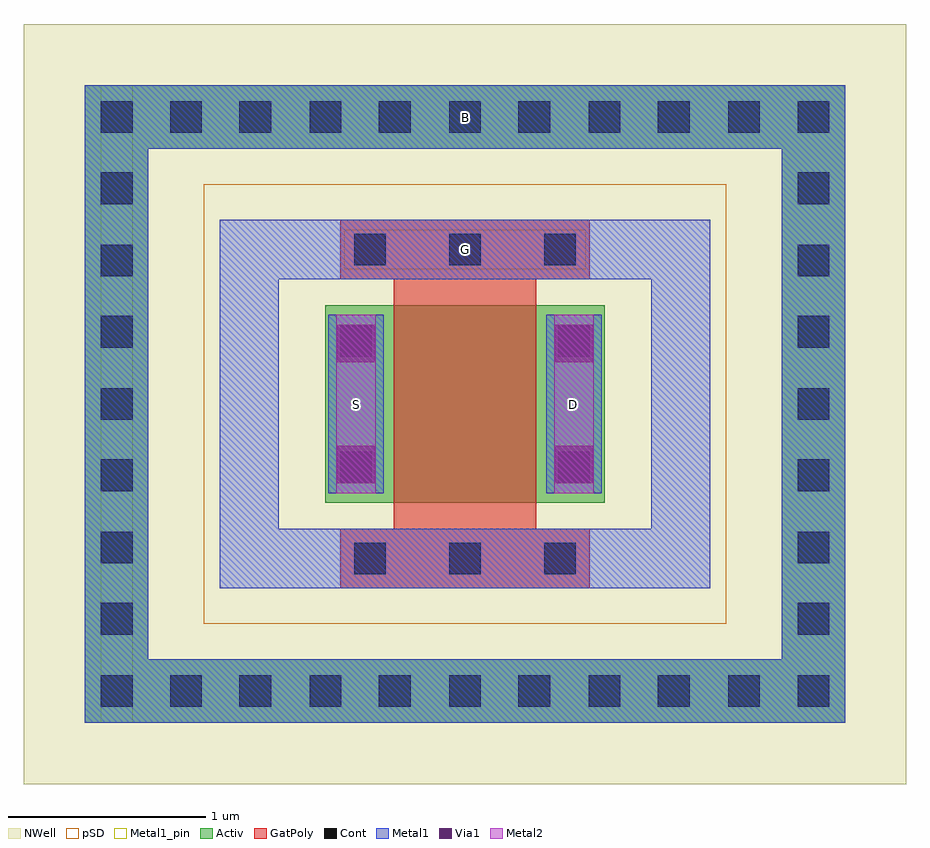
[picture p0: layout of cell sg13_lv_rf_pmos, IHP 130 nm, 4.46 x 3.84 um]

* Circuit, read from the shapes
.subckt sg13_lv_rf_pmos B D G S
XM1 D G S B sg13_lv_pmos w=1u l=0.72u
.ends

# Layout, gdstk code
from math import pi, radians
import gdstk
lib = gdstk.Library(unit=1e-6, precision=5e-09)
def R(c, l, rs):  # rectangles x0, y0, x1, y1
    for r in rs: c.add(gdstk.rectangle(r[:2], r[2:], *l))
def A(c, l, x, y, w, h, nx, ny, dx, dy):  # array of equal rectangles
    R(c, l, [(x+i*dx, y+j*dy, x+i*dx+w, y+j*dy+h) for i in range(nx) for j in range(ny)])
def P(c, l, *ps):  # polygons
    for p in ps: c.add(gdstk.Polygon(p, *l))
Activ = (1, 0)
GatPoly = (5, 0)
Cont = (6, 0)
Metal1 = (8, 0)
Metal1_pin = (8, 2)
Metal2 = (10, 0)
pSD = (14, 0)
Via1 = (19, 0)
NWell = (31, 0)

rfpmos = lib.new_cell('rfpmos')
R(rfpmos, Activ, [(1.42,1.525,2.42,2.935)])
P(rfpmos, Activ, [(0.31,0.31),(0.31,3.83),(0.63,3.83),(0.63,0.63),(3.21,0.63),(3.21,3.83),(0.31,3.83),(0.31,4.15),(3.53,4.15),(3.53,0.31)])
R(rfpmos, GatPoly, [(0.99,1.6,1.29,2.86), (2.55,1.6,2.85,2.86), (1.29,1.87,2.55,2.59)])
A(rfpmos, Cont, 0.39, 0.39, 0.16, 0.16, 1, 3, 0, 0.35)
A(rfpmos, Cont, 3.29, 0.39, 0.16, 0.16, 1, 3, 0, 0.35)
A(rfpmos, Cont, 1.06, 1.67, 0.16, 0.16, 1, 3, 0, 0.48)
A(rfpmos, Cont, 2.62, 1.67, 0.16, 0.16, 1, 3, 0, 0.48)
R(rfpmos, Cont, [(0.75,0.39,0.91,0.55), (1.115,0.39,1.275,0.55), (1.475,0.39,1.635,0.55), (1.84,0.39,2,0.55), (2.2,0.39,2.36,0.55), (2.565,0.39,2.725,0.55), (2.925,0.39,3.085,0.55), (0.39,1.445,0.55,1.605), (3.29,1.445,3.45,1.605), (1.52,1.6,1.68,1.76), (2.16,1.6,2.32,1.76), (0.39,1.795,0.55,1.955), (3.29,1.795,3.45,1.955), (0.39,2.15,0.55,2.31), (3.29,2.15,3.45,2.31), (0.39,2.5,0.55,2.66), (3.29,2.5,3.45,2.66), (1.52,2.7,1.68,2.86), (2.16,2.7,2.32,2.86), (0.39,2.855,0.55,3.015), (3.29,2.855,3.45,3.015), (0.39,3.205,0.55,3.365), (3.29,3.205,3.45,3.365), (0.39,3.56,0.55,3.72), (3.29,3.56,3.45,3.72), (0.39,3.91,0.55,4.07), (0.75,3.91,0.91,4.07), (1.115,3.91,1.275,4.07), (1.475,3.91,1.635,4.07), (1.84,3.91,2,4.07), (2.2,3.91,2.36,4.07), (2.565,3.91,2.725,4.07), (2.925,3.91,3.085,4.07), (3.29,3.91,3.45,4.07)])
R(rfpmos, Metal1, [(0.31,0.31,3.53,0.63), (0.31,0.63,0.63,3.83), (3.21,0.63,3.53,3.83), (1.47,1.54,2.37,1.82), (1.04,1.62,1.24,2.84), (2.6,1.62,2.8,2.84), (1.47,2.64,2.37,2.92), (0.31,3.83,3.53,4.15)])
P(rfpmos, Metal1, [(0.99,0.99),(0.99,3.17),(1.29,3.17),(1.29,1.29),(2.55,1.29),(2.55,3.17),(0.99,3.17),(0.99,3.47),(2.85,3.47),(2.85,0.99)])
R(rfpmos, Metal1_pin, [(0.31,0.39,3.53,0.55), (0.31,0.39,3.53,0.55), (1.47,1.54,2.37,1.82), (1.47,1.54,2.37,1.82), (1.04,1.62,1.24,2.84), (1.04,1.62,1.24,2.84), (1.47,2.64,2.37,2.92), (1.47,2.64,2.37,2.92)])
R(rfpmos, Metal2, [(1.47,1.58,2.37,1.78), (1.47,2.68,2.37,2.88)])
R(rfpmos, pSD, [(0.81,0.91,3.03,3.55)])
R(rfpmos, Via1, [(1.52,1.585,1.71,1.775), (2.13,1.585,2.32,1.775), (1.52,2.685,1.71,2.875), (2.13,2.685,2.32,2.875)])
R(rfpmos, NWell, [(0,0,3.84,4.46)])
rfpmos.add(gdstk.Label('S', (1.92,1.695), layer=63, texttype=0))
rfpmos.add(gdstk.Label('D', (1.92,2.8), layer=63, texttype=0))
rfpmos.add(gdstk.Label('G', (1.14,2.23), layer=63, texttype=0))
rfpmos.add(gdstk.Label('TIE', (1.92,0.47), layer=63, texttype=0))
rfpmos.add(gdstk.Label('rfpmos', (1.92,3.99), layer=63, texttype=0))

sg13_lv_rf_pmos = lib.new_cell('sg13_lv_rf_pmos')
R(sg13_lv_rf_pmos, Metal1_pin, [(1.615,1.855,1.745,1.985), (2.715,1.855,2.845,1.985), (2.165,2.635,2.295,2.765), (2.165,3.305,2.295,3.435)])
sg13_lv_rf_pmos.add(gdstk.Reference(rfpmos, (0,3.84), rotation=3*pi/2))
sg13_lv_rf_pmos.add(gdstk.Label('S', (1.68,1.92), layer=8, texttype=25))
sg13_lv_rf_pmos.add(gdstk.Label('D', (2.78,1.92), layer=8, texttype=25))
sg13_lv_rf_pmos.add(gdstk.Label('G', (2.23,2.7), layer=8, texttype=25))
sg13_lv_rf_pmos.add(gdstk.Label('B', (2.23,3.37), layer=8, texttype=25))

lib.write_gds('sg13_lv_rf_pmos.gds')
